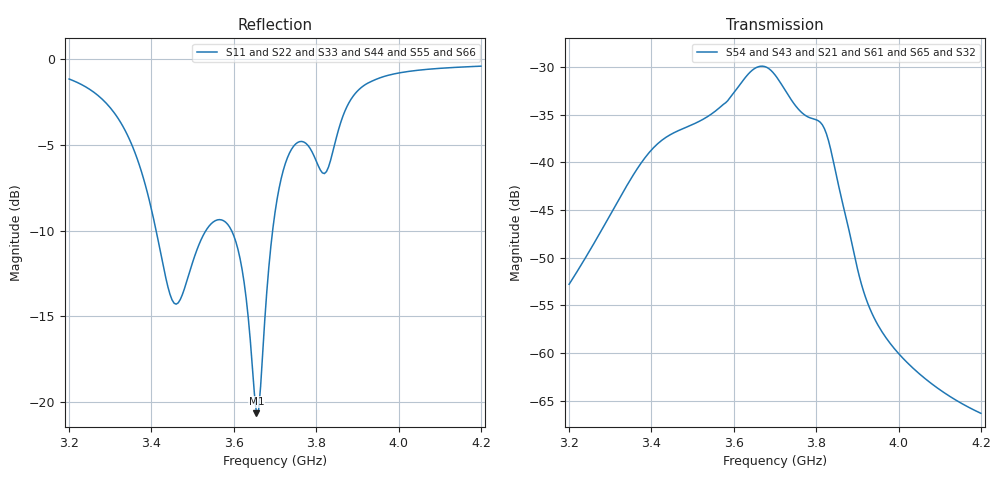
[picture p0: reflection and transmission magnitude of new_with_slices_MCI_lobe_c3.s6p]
! Touchstone file exported from HFSS 2024.2.0
!  File:  D:/Jatin/new_with_slices.aedt
!  Generated:  09:18:53 AM Oct  4, 2026
!  Design:  MCI_lobe
!  Project:  new_with_slices
!  Setup:  Setup1
!  Solution:  Sweep
! Variables:
!  $L = 85mm
!  $W = 35mm
!  H = 1.575mm
!  L = 42mm
!  W = 35mm
!  Wb = 6mm
!  a = 3.5mm
!  ant_dist = 115mm
!  ant_gap = 3mm
!  b = 5mm
!  c = 5mm
!  d = 2mm
!  e_S1 = 0mm
!  e_S2 = 0mm
!  e_S3 = 0mm
!  e_S4 = 0mm
!  e_S5 = 0mm
!  e_S6 = 0mm
!  g1 = 2mm
!  g2 = 2mm
!  g3 = 1mm
!  g4 = 2mm
!  gap = 10mm
!  r1 = 3.5mm
!  r2 = 6mm
!  r_brain = 95mm
!  r_brain_ad = 61.68mm
!  r_csf = 95.5mm
!  r_csf_expanded = 64.6mm
!  r_csf_inner = 61.68mm
!  r_csf_outer = 83.5mm
!  r_fat = 87.5mm
!  r_gray = 70.55mm
!  r_gray_healthy = 83mm
!  r_grey_healthy = 83mm
!  r_hip = 21.25mm
!  r_hippo_healthy = 25mm
!  r_skin = 88mm
!  r_skull = 86.5mm
!  r_white = 17.5mm
!  r_white_healthy = 76mm
!  slot_distance = 15mm
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# GHz S MA R 50.000000
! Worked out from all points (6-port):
!   201 points, 3.2 GHz to 4.2 GHz, reference 50 ohm
!   strongest paths, dB at 3.2 GHz, 3.45 GHz, 3.7 GHz, 3.95 GHz, 4.2 GHz:
!     S54: -52.8, -37.0, -30.8, -57.1, -66.3
!     S43: -52.9, -36.9, -30.9, -57.2, -66.3
!     S21: -52.9, -36.9, -30.8, -57.1, -66.2
!     S61: -52.9, -37.0, -31.0, -57.3, -66.3
!     S65: -52.9, -37.1, -30.8, -57.0, -66.2
!     S32: -52.9, -37.1, -30.8, -57.0, -66.3
!   lowest |S11| = -20.6 dB at 3.655 GHz (marker M1), VSWR 1.20, Z = 42.9 - j4.95 ohm
!   |S11| at or under -10 dB: 3.411 GHz to 3.532 GHz (121.1 MHz wide, 3.49 % of centre); 3.594 GHz to 3.694 GHz (99.87 MHz wide, 2.74 % of centre)
